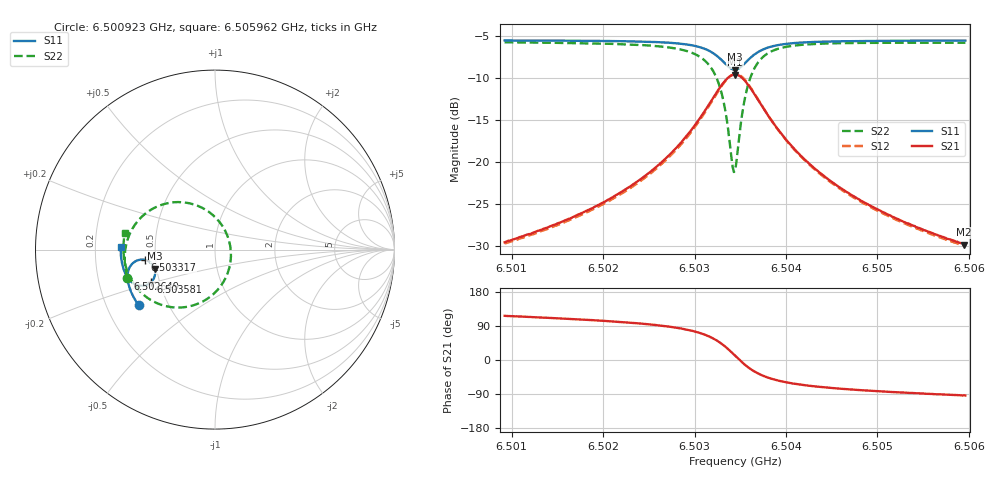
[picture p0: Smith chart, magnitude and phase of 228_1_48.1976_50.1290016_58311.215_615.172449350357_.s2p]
#  HZ  S  RI  R  50.00
! Rohde & Schwarz Vector Network Analyzer
! Rohde-Schwarz,ZNB20-2Port,1311601062101988,3.16
! Created: UTC 3/20/2024, 11:46:13 AM
! freq[Hz]  re:S11  im:S11  re:S21  im:S21  re:S12  im:S12  re:S22  im:S22
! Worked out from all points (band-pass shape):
!   401 points, 6.500923 GHz to 6.505962 GHz, reference 50 ohm
!   highest |S21| = -9.62 dB at 6.503443 GHz (marker M1); lowest = -29.8 dB at 6.50595 GHz (marker M2)
!   |S21| within 3 dB of the highest: 6.50319 GHz to 6.503694 GHz (504.2 kHz wide, 0.00775 % of centre)
!   lowest |S11| = -9.0 dB at 6.503443 GHz (marker M3), VSWR 2.09, Z = 24.3 - j5.95 ohm
!   |S11| at or under -10 dB: nowhere
!   |S22| runs from -21.2 to -5.8 dB; largest |S21 - S12| = 0.011
!   S11 on the Smith chart (normalised r, x): 6.500923 GHz: 0.34, -0.29; 6.502649 GHz: 0.33, -0.14; 6.503317 GHz: 0.44, -0.06; 6.503581 GHz: 0.45, -0.19; 6.505962 GHz: 0.31, +0.01
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6.5009229e9  -0.425 -0.311  -0.015 0.0298  -0.0132 0.0302  -0.4892 -0.1565
6.501767e9  -0.4615 -0.2487  -0.0143 0.0477  -0.0119 0.0472  -0.5028 -0.0671
6.5022205e9  -0.4774 -0.2087  -0.0114 0.0665  -0.00852 0.0654  -0.5001 -0.00316
6.5026111e9  -0.487 -0.1659  -0.00235 0.0965  0.00133 0.0943  -0.4804 0.0743
6.5026489e9  -0.4874 -0.1608  -0.000514 0.1008  0.00317 0.0983  -0.4765 0.0838
6.502926e9  -0.4835 -0.118  0.0262 0.1431  0.0299 0.1388  -0.4209 0.1696
6.503115e9  -0.462 -0.0798  0.0804 0.1853  0.0829 0.1792  -0.3168 0.2422
6.5032284e9  -0.4293 -0.0592  0.1499 0.2029  0.1507 0.1966  -0.1918 0.2643
6.5033166e9  -0.3889 -0.0576  0.2297 0.1864  0.23 0.1812  -0.0543 0.2232
6.5034174e9  -0.3427 -0.0923  0.3137 0.0987  0.3164 0.0937  0.0776 0.0516
6.5034426e9  -0.3365 -0.107  0.3238 0.0662  0.327 0.0603  0.0883 -0.00891
6.5034678e9  -0.3336 -0.1226  0.3273 0.0323  0.3308 0.0254  0.0859 -0.0705
6.5035307e9  -0.3407 -0.16  0.3087 -0.0456  0.3109 -0.0557  0.0295 -0.2062
6.5035811e9  -0.3573 -0.1819  0.2751 -0.0914  0.2747 -0.1026  -0.0471 -0.277
6.5036819e9  -0.3972 -0.2006  0.1991 -0.1339  0.194 -0.1437  -0.2024 -0.3229
6.5038457e9  -0.4454 -0.1931  0.1132 -0.134  0.1061 -0.1391  -0.3584 -0.2803
6.5040347e9  -0.4754 -0.1702  0.064 -0.1124  0.0578 -0.1146  -0.4384 -0.2103
6.5042866e9  -0.4961 -0.1404  0.034 -0.088  0.0293 -0.0885  -0.4818 -0.1381
6.5046268e9  -0.5106 -0.1046  0.0163 -0.0665  0.0127 -0.0661  -0.5029 -0.0693
6.5051307e9  -0.521 -0.0579  0.00495 -0.0481  0.00283 -0.0473  -0.5102 0.0027
6.5059496e9  -0.526 0.0115  -0.00189 -0.0323  -0.00339 -0.0317  -0.5028 0.0894
6.5059622e9  -0.526 0.0124  -0.00211 -0.0323  -0.00345 -0.0315  -0.5024 0.0906
